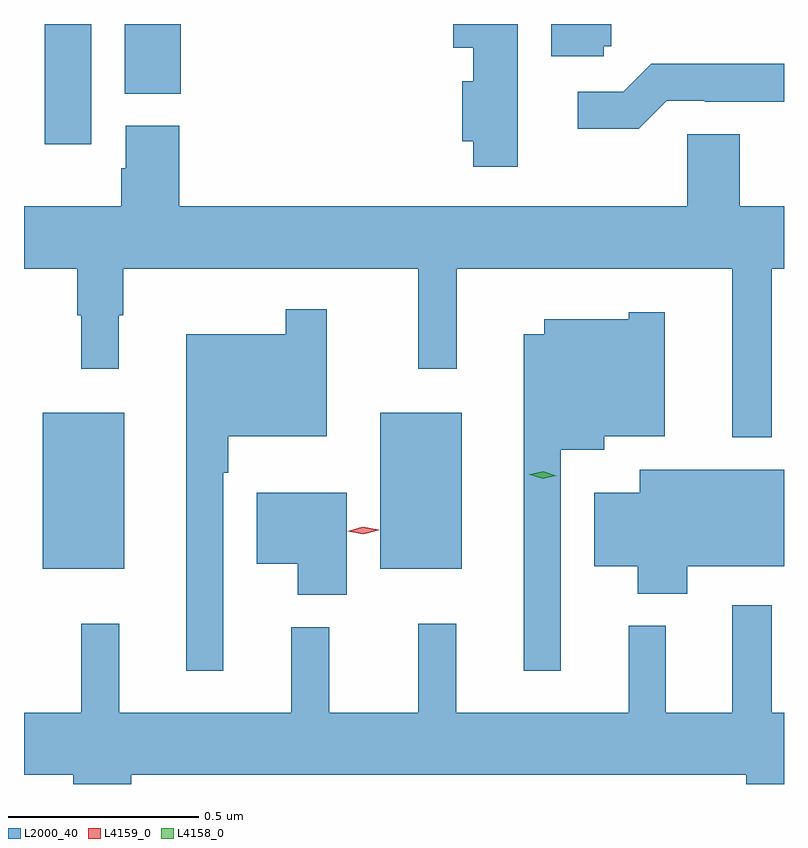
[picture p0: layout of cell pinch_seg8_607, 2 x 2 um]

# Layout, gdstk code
import gdstk
lib = gdstk.Library(unit=1e-6, precision=1e-09)
def R(c, l, rs):  # rectangles x0, y0, x1, y1
    for r in rs: c.add(gdstk.rectangle(r[:2], r[2:], *l))
def P(c, l, *ps):  # polygons
    for p in ps: c.add(gdstk.Polygon(p, *l))
L2000_40 = (2000, 40)
L4158_0 = (4158, 0)
L4159_0 = (4159, 0)

pinch_seg8_607 = lib.new_cell('pinch_seg8_607')
R(pinch_seg8_607, L2000_40, [(122.51,1083.743,122.725,1084.153), (123.398,1083.743,123.613,1084.153), (122.516,1084.86,122.638,1085.176), (122.726,1084.993,122.873,1085.176)])
P(pinch_seg8_607, L2000_40, [(123.76,1085.176),(123.59,1085.176),(123.59,1085.114),(123.643,1085.114),(123.643,1085.026),(123.614,1085.026),(123.614,1084.868),(123.643,1084.868),(123.643,1084.8),(123.76,1084.8)],
  [(123.987,1085.118),(124.006,1085.118),(124.006,1085.176),(123.848,1085.176),(123.848,1085.091),(123.987,1085.091)],
  [(124.152,1084.974),(124.252,1084.974),(124.252,1084.971),(124.461,1084.971),(124.461,1085.071),(124.111,1085.071),(124.038,1084.998),(123.918,1084.998),(123.918,1084.901),(124.079,1084.901)],
  [(124.429,1084.532),(124.461,1084.532),(124.461,1084.696),(124.345,1084.696),(124.345,1084.886),(124.206,1084.886),(124.206,1084.696),(122.87,1084.696),(122.87,1084.908),(122.729,1084.908),(122.729,1084.797),(122.717,1084.797),(122.717,1084.696),(122.461,1084.696),(122.461,1084.532),(122.601,1084.532),(122.601,1084.409),(122.612,1084.409),(122.612,1084.269),(122.71,1084.269),(122.71,1084.409),(122.722,1084.409),(122.722,1084.532),(123.499,1084.532),(123.499,1084.269),(123.6,1084.269),(123.6,1084.532),(124.325,1084.532),(124.325,1084.088),(124.429,1084.088)],
  [(122.985,1083.995),(122.998,1083.995),(122.998,1084.091),(123.258,1084.091),(123.258,1084.426),(123.15,1084.426),(123.15,1084.36),(122.888,1084.36),(122.888,1083.474),(122.985,1083.474)],
  [(123.873,1084.055),(123.988,1084.055),(123.988,1084.091),(124.147,1084.091),(124.147,1084.417),(124.053,1084.417),(124.053,1084.399),(123.83,1084.399),(123.83,1084.36),(123.776,1084.36),(123.776,1083.474),(123.873,1083.474)],
  [(124.206,1083.749),(124.461,1083.749),(124.461,1084.003),(124.082,1084.003),(124.082,1083.943),(123.962,1083.943),(123.962,1083.749),(124.076,1083.749),(124.076,1083.677),(124.206,1083.677)],
  [(123.31,1083.943),(123.074,1083.943),(123.074,1083.755),(123.182,1083.755),(123.182,1083.674),(123.31,1083.674)],
  [(122.743,1083.2),(124.361,1083.2),(124.361,1083.176),(124.461,1083.176),(124.461,1083.364),(124.429,1083.364),(124.429,1083.646),(124.325,1083.646),(124.325,1083.364),(124.15,1083.364),(124.15,1083.592),(124.052,1083.592),(124.052,1083.364),(123.599,1083.364),(123.599,1083.598),(123.499,1083.598),(123.499,1083.364),(123.264,1083.364),(123.264,1083.589),(123.164,1083.589),(123.164,1083.364),(122.711,1083.364),(122.711,1083.598),(122.612,1083.598),(122.612,1083.364),(122.461,1083.364),(122.461,1083.2),(122.591,1083.2),(122.591,1083.176),(122.743,1083.176)])
P(pinch_seg8_607, L4158_0, [(123.826,1083.979),(123.792,1083.99),(123.791,1083.991),(123.792,1083.991),(123.828,1083.999),(123.862,1083.987),(123.863,1083.987),(123.862,1083.987)])
P(pinch_seg8_607, L4159_0, [(123.354,1083.833),(123.313,1083.841),(123.313,1083.841),(123.313,1083.841),(123.353,1083.853),(123.394,1083.845),(123.395,1083.844),(123.394,1083.844)])

lib.write_gds('pinch_seg8_607.gds')
